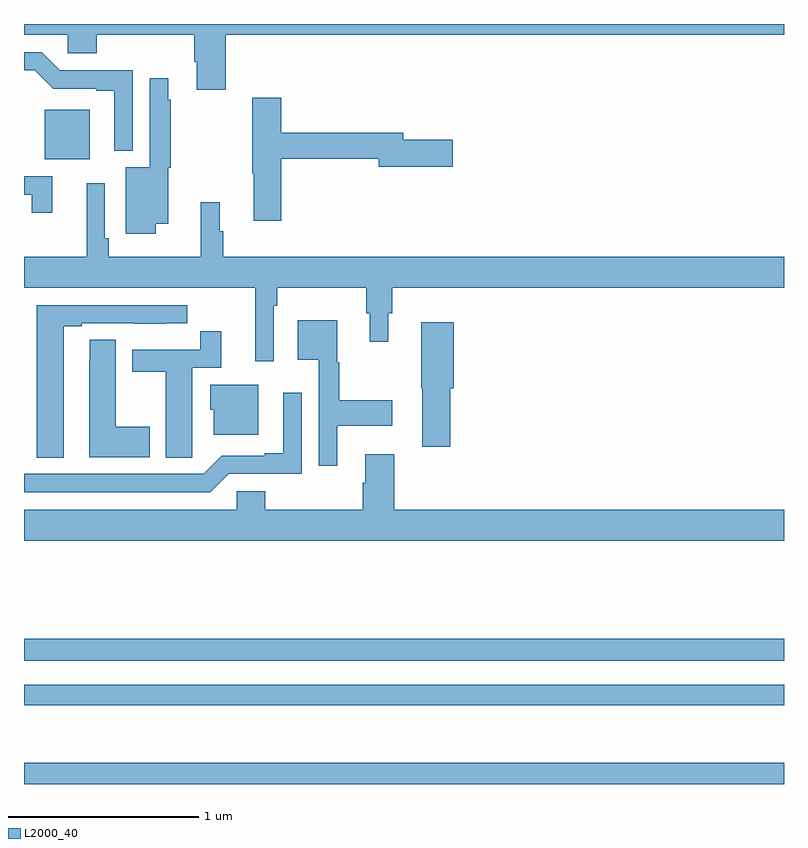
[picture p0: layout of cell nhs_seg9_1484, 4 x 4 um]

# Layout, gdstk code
import gdstk
lib = gdstk.Library(unit=1e-6, precision=1e-09)
def R(c, l, rs):  # rectangles x0, y0, x1, y1
    for r in rs: c.add(gdstk.rectangle(r[:2], r[2:], *l))
def P(c, l, *ps):  # polygons
    for p in ps: c.add(gdstk.Polygon(p, *l))
L2000_40 = (2000, 40)

nhs_seg9_1484 = lib.new_cell('nhs_seg9_1484')
R(nhs_seg9_1484, L2000_40, [(195,1168.5,199,1168.612), (195,1168.914,199,1169.022), (195,1169.148,199,1169.264), (195.11,1171.787,195.346,1172.05)])
P(nhs_seg9_1484, L2000_40, [(196.061,1172.444),(199,1172.444),(199,1172.5),(195,1172.5),(195,1172.444),(195.231,1172.444),(195.231,1172.346),(195.383,1172.346),(195.383,1172.444),(195.896,1172.444),(195.896,1172.302),(195.908,1172.302),(195.908,1172.154),(196.061,1172.154)],
  [(195.573,1172.256),(195.189,1172.256),(195.093,1172.352),(195,1172.352),(195,1172.256),(195.057,1172.256),(195.153,1172.16),(195.38,1172.16),(195.38,1172.148),(195.476,1172.148),(195.476,1171.832),(195.573,1171.832)],
  [(195.694,1171.448),(195.76,1171.448),(195.76,1171.743),(195.772,1171.743),(195.772,1172.102),(195.76,1172.102),(195.76,1172.215),(195.663,1172.215),(195.663,1171.747),(195.536,1171.747),(195.536,1171.395),(195.694,1171.395)],
  [(196.355,1171.792),(196.868,1171.792),(196.868,1171.75),(197.257,1171.75),(197.257,1171.892),(196.996,1171.892),(196.996,1171.928),(196.355,1171.928),(196.355,1172.113),(196.201,1172.113),(196.201,1171.715),(196.208,1171.715),(196.208,1171.464),(196.355,1171.464)],
  [(195.149,1171.698),(195,1171.698),(195,1171.602),(195.04,1171.602),(195.04,1171.506),(195.149,1171.506)],
  [(196.314,1171.016),(196.334,1171.016),(196.334,1171.112),(196.801,1171.112),(196.801,1170.978),(196.82,1170.978),(196.82,1170.828),(196.918,1170.828),(196.918,1170.978),(196.937,1170.978),(196.937,1171.112),(199,1171.112),(199,1171.276),(196.049,1171.276),(196.049,1171.41),(196.03,1171.41),(196.03,1171.561),(195.931,1171.561),(195.931,1171.276),(195.446,1171.276),(195.446,1171.372),(195.426,1171.372),(195.426,1171.663),(195.329,1171.663),(195.329,1171.276),(195,1171.276),(195,1171.112),(196.217,1171.112),(196.217,1170.726),(196.314,1170.726)],
  [(195.208,1170.909),(195.304,1170.909),(195.304,1170.924),(195.58,1170.924),(195.58,1170.923),(195.746,1170.923),(195.746,1170.924),(195.859,1170.924),(195.859,1171.02),(195.068,1171.02),(195.068,1170.217),(195.208,1170.217)],
  [(196.648,1170.386),(196.939,1170.386),(196.939,1170.521),(196.66,1170.521),(196.66,1170.72),(196.648,1170.72),(196.648,1170.94),(196.442,1170.94),(196.442,1170.734),(196.551,1170.734),(196.551,1170.174),(196.648,1170.174)],
  [(197.243,1170.582),(197.261,1170.582),(197.261,1170.931),(197.09,1170.931),(197.09,1170.582),(197.096,1170.582),(197.096,1170.276),(197.243,1170.276)],
  [(195.885,1170.328),(195.886,1170.328),(195.886,1170.69),(196.037,1170.69),(196.037,1170.883),(195.928,1170.883),(195.928,1170.786),(195.569,1170.786),(195.569,1170.67),(195.746,1170.67),(195.746,1170.217),(195.885,1170.217)],
  [(195.661,1170.381),(195.484,1170.381),(195.484,1170.839),(195.345,1170.839),(195.345,1170.731),(195.344,1170.731),(195.344,1170.221),(195.661,1170.221)],
  [(196.234,1170.601),(195.98,1170.601),(195.98,1170.471),(195.998,1170.471),(195.998,1170.338),(196.234,1170.338)],
  [(196.077,1170.132),(196.461,1170.132),(196.461,1170.559),(196.364,1170.559),(196.364,1170.241),(196.268,1170.241),(196.268,1170.228),(196.041,1170.228),(195.945,1170.132),(195,1170.132),(195,1170.036),(195.981,1170.036)],
  [(199,1169.944),(196.949,1169.944),(196.949,1170.235),(196.796,1170.235),(196.796,1170.086),(196.784,1170.086),(196.784,1169.944),(196.271,1169.944),(196.271,1170.042),(196.119,1170.042),(196.119,1169.944),(195,1169.944),(195,1169.78),(199,1169.78)])

lib.write_gds('nhs_seg9_1484.gds')
